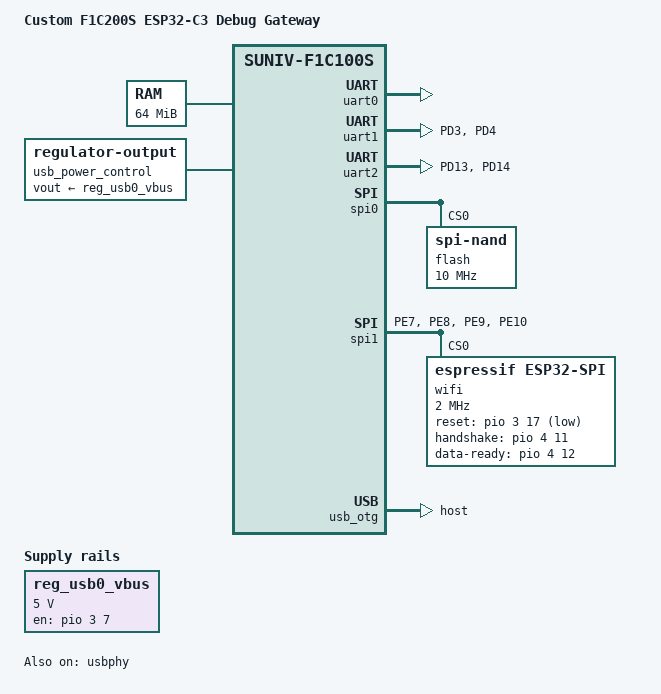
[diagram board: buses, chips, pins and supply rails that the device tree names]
// SPDX-License-Identifier: (GPL-2.0+ OR MIT)
// NAND/Linux and SPI Wi-Fi validated on the 2026-10-12 board netlist.
/dts-v1/;
#include "suniv-f1c100s.dtsi"
#include <dt-bindings/gpio/gpio.h>

/ {
    model = "Custom F1C200S ESP32-C3 Debug Gateway";
    compatible = "custom,f1c200s-gateway", "allwinner,suniv-f1c100s";
    aliases {
        serial0 = &uart0;
        serial1 = &uart1;
        serial2 = &uart2;
        spi0 = &spi0;
        spi1 = &spi1;
    };
    chosen { stdout-path = "serial0:115200n8"; };
    memory@80000000 {
        device_type = "memory";
        reg = <0x80000000 0x04000000>;
    };
    reg_usb0_vbus: regulator-usb0-vbus {
        compatible = "regulator-fixed";
        regulator-name = "usb0-vbus";
        regulator-min-microvolt = <5000000>;
        regulator-max-microvolt = <5000000>;
        gpio = <&pio 3 7 GPIO_ACTIVE_HIGH>;
        /* Board +5V input confirmed; SY6280 EN is PD7 in the 2026-10-12 netlist. */
        status = "okay";
        enable-active-high;
        regulator-boot-on;
    };
    usb_power_control: usb-power-control {
        compatible = "regulator-output";
        vout-supply = <&reg_usb0_vbus>;
    };
    leds {
        compatible = "gpio-leds";
        /* 2026-10-12 netlist has no LED series resistors: leave GPIOs unclaimed. */
        status = "disabled";
        led-run {
            label = "gateway:status";
            gpios = <&pio 4 6 GPIO_ACTIVE_HIGH>;
            linux,default-trigger = "heartbeat";
        };
        led-error {
            label = "gateway:error";
            gpios = <&pio 4 5 GPIO_ACTIVE_HIGH>;
            default-state = "off";
        };
    };
};

&pio {
    /* Line index = 32 * bank + pin: pinned sunxi GPIO driver, pin_base=0. */
    gpio-line-names =
        "", "", "", "", "", "", "", "", /* 0..7 */
        "", "", "", "", "", "", "", "", /* 8..15 */
        "", "", "", "", "", "", "", "", /* 16..23 */
        "", "", "", "", "", "", "", "", /* 24..31 */
        "", "", "", "", "", "", "", "", /* 32..39 */
        "", "", "", "", "", "", "", "", /* 40..47 */
        "", "", "", "", "", "", "", "", /* 48..55 */
        "", "", "", "", "", "", "", "", /* 56..63 */
        "", "", "", "", "", "", "", "", /* 64..71 */
        "", "", "", "", "", "", "", "", /* 72..79 */
        "", "", "", "", "", "", "", "", /* 80..87 */
        "", "", "", "", "", "", "", "", /* 88..95 */
        "", "", "", "", "", "F407_RESET_ASSERT", "F407_BOOT0_SET", "USB_VBUS_ENABLE", /* 96..103 */
        "", "", "", "", "", "", "", "", /* 104..111 */
        "", "", "", "", "", "", "", "", /* 112..119 */
        "", "", "", "", "", "", "", "", /* 120..127 */
        "", "", "", "", "", "", "", "", /* 128..135: PE4 is NC */
        "", "", "", "", "", "", "", "", /* 136..143 */
        "", "", "", "", "", "", "", "", /* 144..151 */
        "", "", "", "", "", "", "", "", /* 152..159 */
        "", "", "", "", "", "", "", "", /* 160..167 */
        "", "", "", "", "", "", "", "", /* 168..175 */
        "", "", "", "", "", "", "", "", /* 176..183 */
        "", "", "", "", "", "", "", ""; /* 184..191 */
    uart1_pd_pins: uart1-pd-pins {
        pins = "PD3", "PD4";
        function = "uart1";
        bias-pull-up;
    };
    uart2_pd_pins: uart2-pd-pins {
        pins = "PD13", "PD14";
        function = "uart2";
        bias-pull-up;
    };
    wifi_spi1_pins: wifi-spi1-pins {
        pins = "PE7", "PE8", "PE9", "PE10";
        function = "spi1";
        bias-disable;
    };
    wifi_gpio_pins: wifi-gpio-pins {
        pins = "PD17", "PE11", "PE12";
        function = "gpio_in";
        bias-disable;
    };
    // PD5 directly connects to target NRST: userspace requests active-low OD.
    // NRST rises through the target's pull-up; never drive it high here.
    // PD6 directly connects to BOOT0; target-side power-on pull-down is required.
};

/* Keep the console RX at UART idle high when the debug cable is absent. */
&uart0_pe_pins {
    bias-pull-up;
};

&uart0 {
    pinctrl-names = "default";
    pinctrl-0 = <&uart0_pe_pins>;
    status = "okay";
};
&uart1 {
    pinctrl-names = "default";
    pinctrl-0 = <&uart1_pd_pins>;
    status = "okay";
};
/* Reserved K230 link, H1-9 TX / H1-11 RX; no login console on ttyS2. */
&uart2 {
    pinctrl-names = "default";
    pinctrl-0 = <&uart2_pd_pins>;
    status = "okay";
};
&spi0 {
    pinctrl-names = "default";
    pinctrl-0 = <&spi0_pc_pins>;
    /* Exported board: W25N01GV only, using the native PC1/CS0. */
    num-cs = <1>;
    status = "okay";
    flash@0 {
        compatible = "spi-nand";
        reg = <0>;
        spi-max-frequency = <10000000>;
        #include "gateway-nand-partitions.dtsi"
    };
};
&spi1 {
    pinctrl-names = "default";
    pinctrl-0 = <&wifi_spi1_pins>;
    status = "okay";
    wifi@0 {
        compatible = "espressif,esp32-spi";
        reg = <0>;
        spi-max-frequency = <2000000>;
        spi-cpol;
        /* GPIO descriptors request the pins; a pinctrl claim here conflicts. */
        /* Direct ESP EN + SW2: assert low, release to input via OD emulation. */
        reset-gpios = <&pio 3 17 (GPIO_ACTIVE_LOW | GPIO_OPEN_DRAIN)>;
        handshake-gpios = <&pio 4 11 GPIO_ACTIVE_HIGH>;
        data-ready-gpios = <&pio 4 12 GPIO_ACTIVE_HIGH>;
    };
};
&mmc0 { status = "disabled"; };
&mmc1 { status = "disabled"; };
&otg_sram { status = "okay"; };
&usbphy {
    /* PD7 is owned by the exclusive userspace regulator consumer above. */
    status = "okay";
};
&usb_otg {
    dr_mode = "host";
    status = "okay";
};
